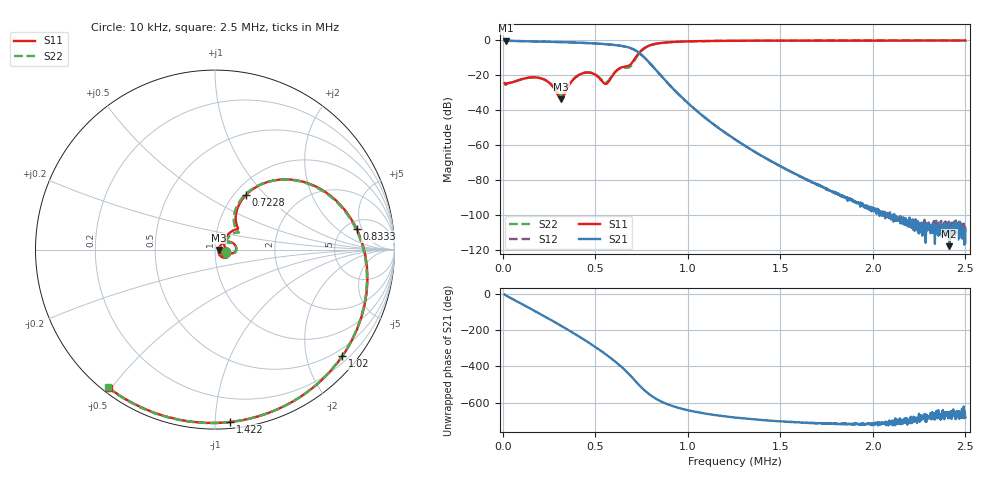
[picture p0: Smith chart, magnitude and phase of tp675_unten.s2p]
# HZ S MA R 50
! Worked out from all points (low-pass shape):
!   1601 points, 10 kHz to 2.5 MHz, reference 50 ohm
!   highest |S21| = -0.24 dB at 16.23 kHz (marker M1); lowest = -117.9 dB at 2.413 MHz (marker M2)
!   |S21| within 3 dB of the highest: start of sweep to 636.7 kHz
!   lowest |S11| = -33.8 dB at 315 kHz (marker M3), VSWR 1.04, Z = 52.1 - j0.252 ohm
!   |S11| at or under -10 dB: start of sweep to 717.4 kHz
!   |S22| runs from -31.8 to -0.2 dB; largest |S21 - S12| = 0.031
!   S11 on the Smith chart (normalised r, x): 10 kHz: 1.12, -0.03; 722.8 kHz: 1.13, +0.78; 833.3 kHz: 6.27, +3.99; 1.02 MHz: 0.33, -2.72; 1.422 MHz: 0.04, -1.09; 2.5 MHz: 0.02, -0.49
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10000  0.05913 -10.8  0.9678 -5.6  0.9644 -5.5  0.05996 -11.1
16225  0.05273 -9.5  0.9733 -10.6  0.9773 -8.8  0.05772 -6.6
97150  0.07471 2.8  0.9355 -54.2  0.9359 -54.2  0.07453 2.8
164069  0.08631 -16.1  0.92 -91.0  0.92 -91.0  0.08592 -15.2
244994  0.06404 -44.4  0.9006 -136.2  0.9004 -136.2  0.06451 -41.1
315025  0.02033 -6.8  0.8803 -176.9  0.8803 -176.8  0.0257 -5.7
425519  0.109 18.2  0.8367 115.9  0.8367 115.9  0.1106 15.3
500219  0.1021 -11.2  0.801 66.9  0.801 67.0  0.1044 -12.3
553131  0.05604 10.4  0.7701 29.2  0.77 29.2  0.06156 7.8
582700  0.07993 45.1  0.7464 6.6  0.7467 6.6  0.08377 38.7
663625  0.1751 43.2  0.6493 -63.3  0.6498 -63.4  0.1629 36.7
722763  0.3478 60.6  0.487 -127.1  0.4864 -127.2  0.325 62.3
771006  0.6186 37.7  0.2969 -175.7  0.2961 -175.8  0.6061 38.9
833256  0.7971 8.4  0.1298 139.6  0.1295 139.6  0.791 8.9
841038  0.8098 5.4  0.1166 135.2  0.1163 135.3  0.8042 5.8
1020006  0.9251 -40.0  0.01273 75.2  0.01273 75.4  0.9241 -40.1
1255000  0.9564 -70.7  0.001446 39.5  0.001444 39.7  0.9571 -71.0
1421519  0.9636 -84.9  0.0004175 24.6  0.0004164 24.5  0.9644 -85.2
1670519  0.9679 -100.1  8.779e-05 9.0  8.575e-05 10.1  0.9693 -100.5
2086038  0.9701 -116.7  9.53e-06 -0.0  8.087e-06 9.2  0.9721 -117.1
2412850  0.9711 -125.5  1.276e-06 39.6  2.85e-06 74.4  0.9729 -125.9
2500000  0.9713 -127.5  1.603e-06 41.0  4.32e-06 49.5  0.9733 -127.9
